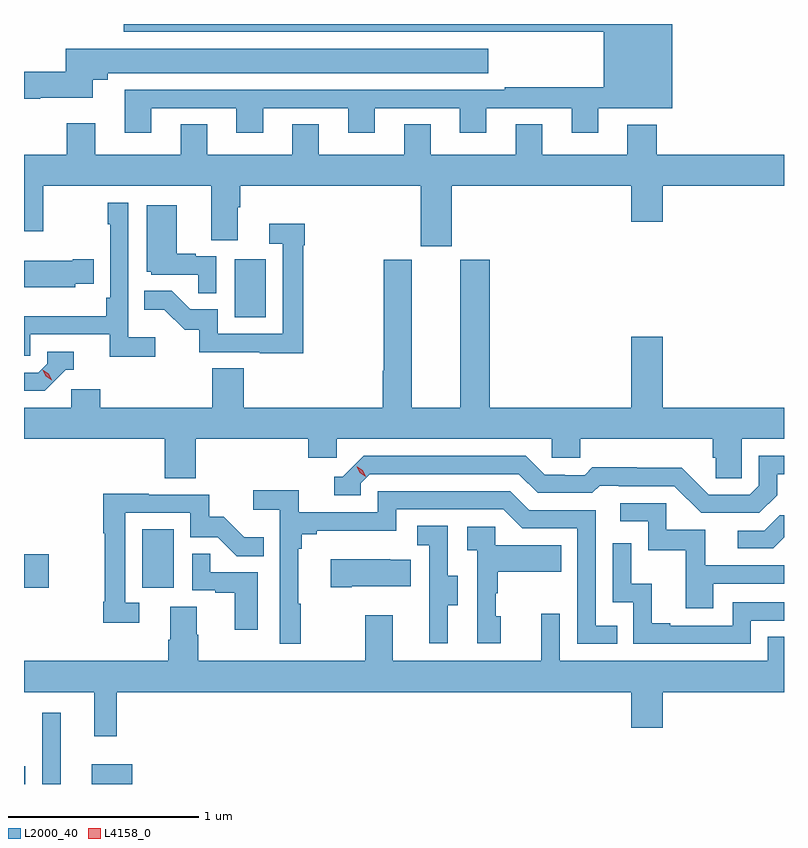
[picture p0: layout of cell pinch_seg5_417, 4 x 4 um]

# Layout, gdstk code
import gdstk
lib = gdstk.Library(unit=1e-6, precision=1e-09)
def R(c, l, rs):  # rectangles x0, y0, x1, y1
    for r in rs: c.add(gdstk.rectangle(r[:2], r[2:], *l))
def P(c, l, *ps):  # polygons
    for p in ps: c.add(gdstk.Polygon(p, *l))
L2000_40 = (2000, 40)
L4158_0 = (4158, 0)

pinch_seg5_417 = lib.new_cell('pinch_seg5_417')
R(pinch_seg5_417, L2000_40, [(976.995,861.604,977.002,861.697), (977.091,861.604,977.188,861.979), (977.351,861.604,977.566,861.709), (976.995,862.636,977.125,862.814), (977.618,862.638,977.782,862.945), (978.104,864.06,978.268,864.367)])
P(pinch_seg5_417, L2000_40, [(977.665,865.161),(978.113,865.161),(978.113,865.032),(978.253,865.032),(978.253,865.161),(978.701,865.161),(978.701,865.032),(978.841,865.032),(978.841,865.161),(979.289,865.161),(979.289,865.032),(979.429,865.032),(979.429,865.161),(979.877,865.161),(979.877,865.032),(980.017,865.032),(980.017,865.16),(980.407,865.16),(980.407,865.604),(977.519,865.604),(977.519,865.562),(980.045,865.562),(980.045,865.27),(979.525,865.27),(979.525,865.257),(977.525,865.257),(977.525,865.032),(977.665,865.032)],
  [(977.08,865.217),(977.356,865.217),(977.356,865.31),(977.437,865.31),(977.437,865.346),(979.438,865.346),(979.438,865.474),(977.216,865.474),(977.216,865.352),(976.995,865.352),(976.995,865.21),(977.08,865.21)],
  [(979.246,864.752),(980.192,864.752),(980.192,864.564),(980.356,864.564),(980.356,864.752),(980.995,864.752),(980.995,864.916),(980.324,864.916),(980.324,865.075),(980.171,865.075),(980.171,864.916),(979.723,864.916),(979.723,865.076),(979.583,865.076),(979.583,864.916),(979.135,864.916),(979.135,865.076),(978.995,865.076),(978.995,864.916),(978.547,864.916),(978.547,865.076),(978.407,865.076),(978.407,864.916),(977.959,864.916),(977.959,865.076),(977.819,865.076),(977.819,864.916),(977.371,864.916),(977.371,865.081),(977.219,865.081),(977.219,864.916),(976.995,864.916),(976.995,864.513),(977.097,864.513),(977.097,864.752),(977.981,864.752),(977.981,864.466),(978.121,864.466),(978.121,864.64),(978.134,864.64),(978.134,864.752),(979.082,864.752),(979.082,864.435),(979.246,864.435)],
  [(977.686,863.956),(977.544,863.956),(977.544,864.664),(977.436,864.664),(977.436,864.551),(977.448,864.551),(977.448,864.163),(977.428,864.163),(977.428,864.067),(976.995,864.067),(976.995,863.859),(977.028,863.859),(977.028,863.97),(977.447,863.97),(977.447,863.854),(977.686,863.854)],
  [(978.006,864.381),(977.9,864.381),(977.9,864.394),(977.8,864.394),(977.8,864.649),(977.642,864.649),(977.642,864.3),(977.664,864.3),(977.664,864.285),(977.911,864.285),(977.911,864.187),(978.006,864.187)],
  [(978.466,864.44),(978.473,864.44),(978.473,864.553),(978.285,864.553),(978.285,864.447),(978.357,864.447),(978.357,863.973),(978.015,863.973),(978.015,864.102),(977.871,864.102),(977.773,864.2),(977.629,864.2),(977.629,864.101),(977.733,864.101),(977.84,863.994),(977.917,863.994),(977.917,863.877),(978.235,863.877),(978.235,863.872),(978.466,863.872)],
  [(977.265,864.236),(977.363,864.236),(977.363,864.366),(977.252,864.366),(977.252,864.358),(976.995,864.358),(976.995,864.218),(977.265,864.218)],
  [(977.735,863.212),(977.9,863.212),(977.9,863.42),(978.491,863.42),(978.491,863.322),(978.642,863.322),(978.642,863.42),(979.773,863.42),(979.773,863.322),(979.923,863.322),(979.923,863.42),(980.621,863.42),(980.621,863.322),(980.635,863.322),(980.635,863.212),(980.772,863.212),(980.772,863.42),(980.995,863.42),(980.995,863.584),(980.356,863.584),(980.356,863.959),(980.192,863.959),(980.192,863.584),(979.445,863.584),(979.445,864.363),(979.292,864.363),(979.292,863.584),(979.036,863.584),(979.036,864.363),(978.889,864.363),(978.889,863.78),(978.884,863.78),(978.884,863.584),(978.152,863.584),(978.152,863.792),(977.987,863.792),(977.987,863.584),(977.396,863.584),(977.396,863.682),(977.244,863.682),(977.244,863.584),(976.995,863.584),(976.995,863.42),(977.735,863.42)],
  [(977.214,863.784),(977.257,863.784),(977.257,863.88),(977.118,863.88),(977.118,863.817),(977.07,863.769),(976.995,863.769),(976.995,863.673),(977.103,863.673)],
  [(980.959,863.125),(980.959,863.235),(980.995,863.235),(980.995,863.331),(980.862,863.331),(980.862,863.175),(980.814,863.127),(980.598,863.127),(980.456,863.269),(980.22,863.269),(980.22,863.272),(979.987,863.272),(979.945,863.229),(979.842,863.229),(979.842,863.232),(979.735,863.232),(979.636,863.331),(978.783,863.331),(978.672,863.22),(978.629,863.22),(978.629,863.124),(978.768,863.124),(978.768,863.187),(978.816,863.235),(979.599,863.235),(979.698,863.136),(979.987,863.136),(980.026,863.175),(980.125,863.175),(980.125,863.172),(980.418,863.172),(980.559,863.031),(980.865,863.031)],
  [(978.451,862.553),(978.439,862.553),(978.439,862.841),(978.458,862.841),(978.458,862.918),(978.535,862.918),(978.535,862.937),(978.954,862.937),(978.954,863.049),(979.518,863.049),(979.617,862.95),(979.908,862.95),(979.908,862.341),(980.117,862.341),(980.117,862.437),(980.004,862.437),(980.004,863.046),(979.654,863.046),(979.555,863.145),(978.858,863.145),(978.858,863.034),(978.44,863.034),(978.44,863.15),(978.201,863.15),(978.201,863.048),(978.342,863.048),(978.342,862.341),(978.451,862.341)],
  [(977.602,862.557),(977.529,862.557),(977.529,863.031),(977.871,863.031),(977.871,862.902),(978.016,862.902),(978.114,862.804),(978.257,862.804),(978.257,862.903),(978.153,862.903),(978.046,863.01),(977.97,863.01),(977.97,863.127),(977.651,863.127),(977.651,863.132),(977.413,863.132),(977.413,862.924),(977.421,862.924),(977.421,862.564),(977.413,862.564),(977.413,862.452),(977.602,862.452)],
  [(980.623,862.659),(980.995,862.659),(980.995,862.755),(980.581,862.755),(980.581,862.941),(980.376,862.941),(980.376,863.082),(980.133,863.082),(980.133,862.986),(980.28,862.986),(980.28,862.833),(980.479,862.833),(980.479,862.53),(980.623,862.53)],
  [(980.995,862.902),(980.995,863.018),(980.972,863.018),(980.892,862.938),(980.751,862.938),(980.751,862.845),(980.938,862.845)],
  [(979.225,862.546),(979.279,862.546),(979.279,862.701),(979.224,862.701),(979.224,862.964),(979.065,862.964),(979.065,862.861),(979.128,862.861),(979.128,862.557),(979.127,862.557),(979.127,862.344),(979.225,862.344)],
  [(979.504,862.488),(979.479,862.488),(979.479,862.607),(979.489,862.607),(979.489,862.721),(979.823,862.721),(979.823,862.861),(979.476,862.861),(979.476,862.959),(979.329,862.959),(979.329,862.835),(979.38,862.835),(979.38,862.344),(979.504,862.344)],
  [(980.82,862.464),(980.995,862.464),(980.995,862.56),(980.724,862.56),(980.724,862.437),(980.395,862.437),(980.395,862.45),(980.3,862.45),(980.3,862.658),(980.19,862.658),(980.19,862.87),(980.094,862.87),(980.094,862.56),(980.202,862.56),(980.202,862.341),(980.82,862.341)],
  [(978.226,862.719),(977.975,862.719),(977.975,862.817),(977.88,862.817),(977.88,862.623),(978.001,862.623),(978.001,862.611),(978.104,862.611),(978.104,862.416),(978.226,862.416)],
  [(978.721,862.646),(979.031,862.646),(979.031,862.783),(978.923,862.783),(978.923,862.786),(978.609,862.786),(978.609,862.639),(978.721,862.639)],
  [(977.483,862.088),(980.192,862.088),(980.192,861.9),(980.356,861.9),(980.356,862.088),(980.995,862.088),(980.995,862.379),(980.91,862.379),(980.91,862.252),(979.815,862.252),(979.815,862.501),(979.718,862.501),(979.718,862.252),(978.937,862.252),(978.937,862.492),(978.79,862.492),(978.79,862.252),(977.913,862.252),(977.913,862.389),(977.905,862.389),(977.905,862.538),(977.765,862.538),(977.765,862.364),(977.753,862.364),(977.753,862.252),(976.995,862.252),(976.995,862.088),(977.366,862.088),(977.366,861.855),(977.483,861.855)])
P(pinch_seg5_417, L4158_0, [(978.793,863.222),(978.763,863.242),(978.747,863.275),(978.747,863.275),(978.748,863.275),(978.778,863.255),(978.793,863.222),(978.793,863.222)],
  [(977.14,863.729),(977.109,863.749),(977.093,863.782),(977.093,863.783),(977.093,863.783),(977.124,863.763),(977.14,863.73),(977.14,863.729)])

lib.write_gds('pinch_seg5_417.gds')
